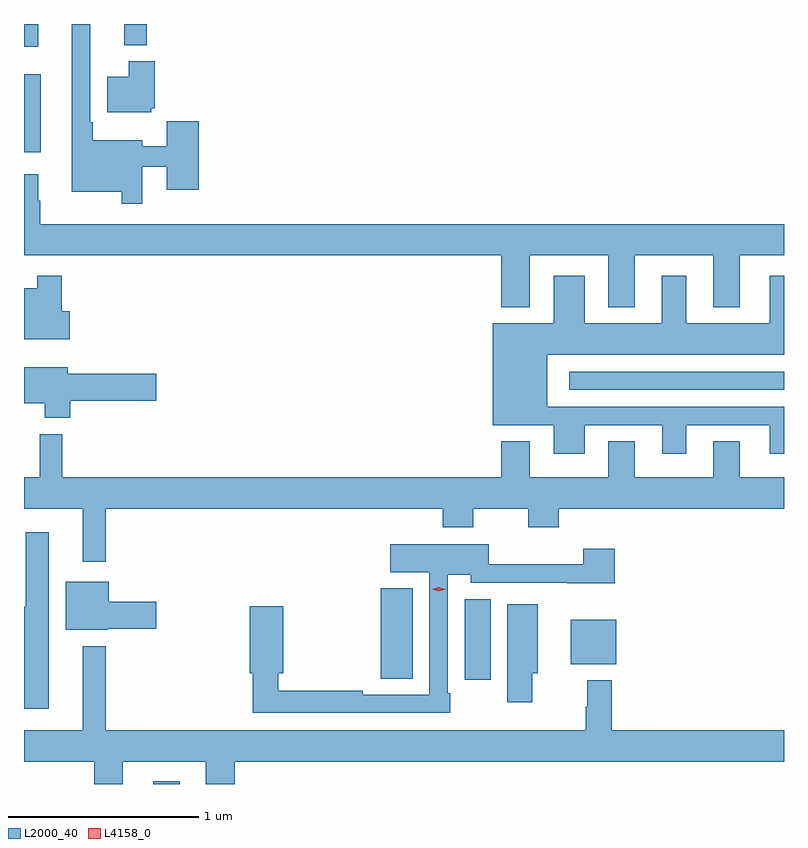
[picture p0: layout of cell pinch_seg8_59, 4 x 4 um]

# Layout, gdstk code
import gdstk
lib = gdstk.Library(unit=1e-6, precision=1e-09)
def R(c, l, rs):  # rectangles x0, y0, x1, y1
    for r in rs: c.add(gdstk.rectangle(r[:2], r[2:], *l))
def P(c, l, *ps):  # polygons
    for p in ps: c.add(gdstk.Polygon(p, *l))
L2000_40 = (2000, 40)
L4158_0 = (4158, 0)

pinch_seg8_59 = lib.new_cell('pinch_seg8_59')
R(pinch_seg8_59, L2000_40, [(888.551,1105.726,888.691,1105.741), (890.189,1106.274,890.326,1106.699), (889.748,1106.281,889.915,1106.755), (890.747,1106.357,890.986,1106.59), (890.739,1107.801,891.87,1107.897), (887.87,1109.051,887.959,1109.461), (887.87,1109.607,887.945,1109.726), (888.398,1109.615,888.515,1109.726)])
P(pinch_seg8_59, L2000_40, [(888.492,1108.974),(888.62,1108.974),(888.62,1108.854),(888.791,1108.854),(888.791,1109.215),(888.62,1109.215),(888.62,1109.083),(888.493,1109.083),(888.493,1109.113),(888.232,1109.113),(888.232,1109.209),(888.219,1109.209),(888.219,1109.726),(888.122,1109.726),(888.122,1108.844),(888.384,1108.844),(888.384,1108.779),(888.492,1108.779)],
  [(888.54,1109.283),(888.557,1109.283),(888.557,1109.53),(888.422,1109.53),(888.422,1109.449),(888.308,1109.449),(888.308,1109.261),(888.54,1109.261)],
  [(890.533,1108.508),(890.945,1108.508),(890.945,1108.235),(891.085,1108.235),(891.085,1108.508),(891.497,1108.508),(891.497,1108.235),(891.637,1108.235),(891.637,1108.508),(891.87,1108.508),(891.87,1108.672),(887.956,1108.672),(887.956,1108.796),(887.944,1108.796),(887.944,1108.936),(887.87,1108.936),(887.87,1108.508),(890.381,1108.508),(890.381,1108.235),(890.533,1108.235)],
  [(888.112,1108.215),(888.068,1108.215),(888.068,1108.402),(887.94,1108.402),(887.94,1108.336),(887.87,1108.336),(887.87,1108.067),(888.112,1108.067)],
  [(890.821,1107.615),(891.23,1107.615),(891.23,1107.465),(891.355,1107.465),(891.355,1107.615),(891.794,1107.615),(891.794,1107.465),(891.87,1107.465),(891.87,1107.711),(890.623,1107.711),(890.623,1107.986),(891.87,1107.986),(891.87,1108.402),(891.794,1108.402),(891.794,1108.15),(891.355,1108.15),(891.355,1108.402),(891.227,1108.402),(891.227,1108.15),(890.821,1108.15),(890.821,1108.402),(890.657,1108.402),(890.657,1108.15),(890.336,1108.15),(890.336,1107.615),(890.657,1107.615),(890.657,1107.465),(890.821,1107.465)],
  [(888.113,1107.742),(888.565,1107.742),(888.565,1107.884),(888.1,1107.884),(888.1,1107.919),(887.87,1107.919),(887.87,1107.731),(887.978,1107.731),(887.978,1107.653),(888.113,1107.653)],
  [(888.301,1107.176),(890.075,1107.176),(890.075,1107.077),(890.235,1107.077),(890.235,1107.176),(890.524,1107.176),(890.524,1107.077),(890.684,1107.077),(890.684,1107.176),(891.87,1107.176),(891.87,1107.34),(891.637,1107.34),(891.637,1107.53),(891.497,1107.53),(891.497,1107.34),(891.085,1107.34),(891.085,1107.53),(890.945,1107.53),(890.945,1107.34),(890.533,1107.34),(890.533,1107.529),(890.381,1107.529),(890.381,1107.34),(888.071,1107.34),(888.071,1107.568),(887.954,1107.568),(887.954,1107.34),(887.87,1107.34),(887.87,1107.176),(888.179,1107.176),(888.179,1106.895),(888.301,1106.895)],
  [(888.001,1107.052),(887.88,1107.052),(887.88,1106.66),(887.87,1106.66),(887.87,1106.123),(888.001,1106.123)],
  [(890.113,1106.203),(890.1,1106.203),(890.1,1106.828),(890.22,1106.828),(890.22,1106.784),(890.729,1106.784),(890.729,1106.783),(890.978,1106.783),(890.978,1106.965),(890.813,1106.965),(890.813,1106.882),(890.316,1106.882),(890.316,1106.989),(889.797,1106.989),(889.797,1106.84),(890.004,1106.84),(890.004,1106.196),(889.652,1106.196),(889.652,1106.216),(889.207,1106.216),(889.207,1106.309),(889.235,1106.309),(889.235,1106.662),(889.057,1106.662),(889.057,1106.309),(889.075,1106.309),(889.075,1106.1),(890.113,1106.1)],
  [(888.312,1106.543),(888.565,1106.543),(888.565,1106.685),(888.316,1106.685),(888.316,1106.791),(888.089,1106.791),(888.089,1106.537),(888.312,1106.537)],
  [(890.544,1106.309),(890.575,1106.309),(890.575,1106.671),(890.414,1106.671),(890.414,1106.157),(890.544,1106.157)],
  [(888.391,1105.844),(888.827,1105.844),(888.827,1105.726),(888.98,1105.726),(888.98,1105.844),(891.87,1105.844),(891.87,1106.008),(890.963,1106.008),(890.963,1106.272),(890.835,1106.272),(890.835,1106.132),(890.827,1106.132),(890.827,1106.008),(888.301,1106.008),(888.301,1106.452),(888.179,1106.452),(888.179,1106.008),(887.87,1106.008),(887.87,1105.844),(888.239,1105.844),(888.239,1105.726),(888.391,1105.726)])
P(pinch_seg8_59, L4158_0, [(890.052,1106.741),(890.018,1106.752),(890.018,1106.752),(890.018,1106.752),(890.053,1106.761),(890.088,1106.75),(890.088,1106.75),(890.088,1106.75)])

lib.write_gds('pinch_seg8_59.gds')
